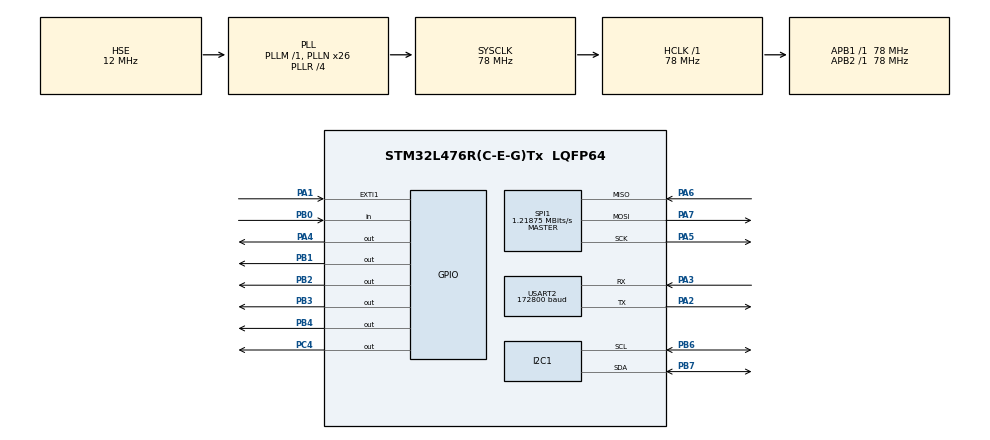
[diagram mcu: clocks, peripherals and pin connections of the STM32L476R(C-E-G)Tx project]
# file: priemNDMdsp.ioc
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I2C1.Timing=0x40707EB4
Mcu.Family=STM32L4
Mcu.Name=STM32L476R(C-E-G)Tx
Mcu.Package=LQFP64
NVIC.EXTI1_IRQn=true\:2\:0\:true\:false\:true\:true\:true
NVIC.PriorityGroup=NVIC_PRIORITYGROUP_4
NVIC.TIM6_DAC_IRQn=true\:0\:0\:false\:false\:true\:true\:true
NVIC.TIM7_IRQn=true\:3\:0\:true\:false\:true\:true\:true
NVIC.USART2_IRQn=true\:1\:0\:true\:false\:true\:true\:true
PA1.GPIO_ModeDefaultEXTI=GPIO_MODE_IT_RISING_FALLING
PA1.GPIO_PuPd=GPIO_PULLUP
PA1.Signal=GPXTI1
PA13\ (JTMS-SWDIO).Mode=Serial_Wire
PA13\ (JTMS-SWDIO).Signal=SYS_JTMS-SWDIO
PA14\ (JTCK-SWCLK).Mode=Serial_Wire
PA14\ (JTCK-SWCLK).Signal=SYS_JTCK-SWCLK
PA2.Mode=Asynchronous
PA2.Signal=USART2_TX
PA3.Mode=Asynchronous
PA3.Signal=USART2_RX
PA4.GPIO_PuPd=GPIO_PULLUP
PA4.GPIO_Speed=GPIO_SPEED_FREQ_MEDIUM
PA4.Signal=GPIO_Output
PA5.GPIO_PuPd=GPIO_NOPULL
PA5.Mode=Full_Duplex_Master
PA5.Signal=SPI1_SCK
PA6.Mode=Full_Duplex_Master
PA6.Signal=SPI1_MISO
PA7.GPIO_PuPd=GPIO_NOPULL
PA7.Mode=Full_Duplex_Master
PA7.Signal=SPI1_MOSI
PB0.GPIO_PuPd=GPIO_PULLDOWN
PB0.Signal=GPIO_Input
PB1.GPIO_PuPd=GPIO_PULLUP
PB1.GPIO_Speed=GPIO_SPEED_FREQ_MEDIUM
PB1.Signal=GPIO_Output
PB2.GPIO_PuPd=GPIO_PULLUP
PB2.GPIO_Speed=GPIO_SPEED_FREQ_MEDIUM
PB2.Signal=GPIO_Output
PB3\ (JTDO-TRACESWO).GPIO_PuPd=GPIO_PULLUP
PB3\ (JTDO-TRACESWO).GPIO_Speed=GPIO_SPEED_FREQ_MEDIUM
PB3\ (JTDO-TRACESWO).Signal=GPIO_Output
PB4\ (NJTRST).GPIO_PuPd=GPIO_PULLUP
PB4\ (NJTRST).GPIO_Speed=GPIO_SPEED_FREQ_MEDIUM
PB4\ (NJTRST).Signal=GPIO_Output
PB6.Mode=I2C
PB6.Signal=I2C1_SCL
PB7.Mode=I2C
PB7.Signal=I2C1_SDA
PC4.GPIO_PuPd=GPIO_PULLDOWN
PC4.GPIO_Speed=GPIO_SPEED_FREQ_VERY_HIGH
PC4.Signal=GPIO_Output
PH0-OSC_IN\ (PH0).Mode=HSE-External-Oscillator
PH0-OSC_IN\ (PH0).Signal=RCC_OSC_IN
PH1-OSC_OUT\ (PH1).Mode=HSE-External-Oscillator
PH1-OSC_OUT\ (PH1).Signal=RCC_OSC_OUT
ProjectManager.HeapSize=0x400
ProjectManager.StackSize=0x800
ProjectManager.TargetToolchain=EWARM V7
RCC.ADCFreq_Value=48000000
RCC.AHBFreq_Value=78000000
RCC.APB1Freq_Value=78000000
RCC.APB1TimFreq_Value=78000000
RCC.APB2Freq_Value=78000000
RCC.APB2TimFreq_Value=78000000
RCC.CortexFreq_Value=78000000
RCC.HCLKFreq_Value=78000000
RCC.HSE_VALUE=12000000
RCC.HSI_VALUE=16000000
RCC.LSE_VALUE=32768
RCC.MSI_VALUE=4000000
RCC.PLLN=26
RCC.PLLR=RCC_PLLR_DIV4
RCC.PLLSourceVirtual=RCC_PLLSOURCE_HSE
RCC.SYSCLKFreq_VALUE=78000000
RCC.SYSCLKSource=RCC_SYSCLKSOURCE_PLLCLK
RCC.USBFreq_Value=48000000
RCC.VCOOutputFreq_Value=312000000
SPI1.BaudRatePrescaler=SPI_BAUDRATEPRESCALER_64
SPI1.CalculateBaudRate=1.21875 MBits/s
SPI1.DataSize=SPI_DATASIZE_8BIT
SPI1.Direction=SPI_DIRECTION_2LINES
SPI1.Mode=SPI_MODE_MASTER
SPI1.NSSPMode=SPI_NSS_PULSE_DISABLE
SPI1.VirtualType=VM_MASTER
TIM6.Period=3075
TIM6.TIM_MasterOutputTrigger=TIM_TRGO_UPDATE
TIM7.Period=62499
TIM7.Prescaler=62400
TIM7.TIM_MasterOutputTrigger=TIM_TRGO_UPDATE
USART2.BaudRate=172800
USART2.DMADisableonRxErrorParam=UART_ADVFEATURE_DMA_DISABLEONRXERROR
USART2.OverrunDisableParam=UART_ADVFEATURE_OVERRUN_ENABLE
USART2.VirtualMode-Asynchronous=VM_ASYNC
USART2.WordLength=WORDLENGTH_8B
VP_TIM6_VS_ClockSourceINT.Mode=Enable_Timer
VP_TIM7_VS_ClockSourceINT.Mode=Enable_Timer
board=priemNDMdsp

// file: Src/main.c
/**
  ******************************************************************************
  * File Name          : main.c
  * Description        : Main program body
  ******************************************************************************
  ** This notice applies to any and all portions of this file
  * that are not between comment pairs USER CODE BEGIN and
  * USER CODE END. Other portions of this file, whether
  * inserted by the user or by software development tools
  * are owned by their respective copyright owners.
  *
  * COPYRIGHT(c) 2018 STMicroelectronics
  *
  * Redistribution and use in source and binary forms, with or without modification,
  * are permitted provided that the following conditions are met:
  *   1. Redistributions of source code must retain the above copyright notice,
  *      this list of conditions and the following disclaimer.
  *   2. Redistributions in binary form must reproduce the above copyright notice,
  *      this list of conditions and the following disclaimer in the documentation
  *      and/or other materials provided with the distribution.
  *   3. Neither the name of STMicroelectronics nor the names of its contributors
  *      may be used to endorse or promote products derived from this software
  *      without specific prior written permission.
  *
  * THIS SOFTWARE IS PROVIDED BY THE COPYRIGHT HOLDERS AND CONTRIBUTORS "AS IS"
  * AND ANY EXPRESS OR IMPLIED WARRANTIES, INCLUDING, BUT NOT LIMITED TO, THE
  * IMPLIED WARRANTIES OF MERCHANTABILITY AND FITNESS FOR A PARTICULAR PURPOSE ARE
  * DISCLAIMED. IN NO EVENT SHALL THE COPYRIGHT HOLDER OR CONTRIBUTORS BE LIABLE
  * FOR ANY DIRECT, INDIRECT, INCIDENTAL, SPECIAL, EXEMPLARY, OR CONSEQUENTIAL
  * DAMAGES (INCLUDING, BUT NOT LIMITED TO, PROCUREMENT OF SUBSTITUTE GOODS OR
  * SERVICES; LOSS OF USE, DATA, OR PROFITS; OR BUSINESS INTERRUPTION) HOWEVER
  * CAUSED AND ON ANY THEORY OF LIABILITY, WHETHER IN CONTRACT, STRICT LIABILITY,
  * OR TORT (INCLUDING NEGLIGENCE OR OTHERWISE) ARISING IN ANY WAY OUT OF THE USE
  * OF THIS SOFTWARE, EVEN IF ADVISED OF THE POSSIBILITY OF SUCH DAMAGE.
  *
  ******************************************************************************
  */
#include "main.h"
#include "stm32l4xx_hal.h"
#include "i2c.h"
#include "spi.h"
#include "tim.h"
#include "usart.h"
#include "gpio.h"
#include "stm32l4xx_it.h"

/* USER CODE BEGIN PV */
/* Private variables ---------------------------------------------------------*/
const  uint8_t txReqestMode = 0xE1;
uint16_t timOUT = 500;

__IO uint8_t halt = SEVEN_CHANEL_MODE; //0 - 7 chanel, 1 - 4 chanel

extern uint16_t nBytesInCadr  ;
extern taskTARIR taskTarir;
extern uint8_t isByteRecived;
extern uint8_t nBytesDataPack;
extern uint16_t rxUsartBuf;

/* USER CODE END PV */

void SystemClock_Config(void);

/* USER CODE BEGIN PFP */
/* Private function prototypes -----------------------------------------------*/

/* USER CODE END PFP */

int main(void)
{

  /* MCU Configuration----------------------------------------------------------*/

  /* Reset of all peripherals, Initializes the Flash interface and the Systick. */
  HAL_Init();

  /* Configure the system clock */
  SystemClock_Config();

  /* Initialize all configured peripherals */
  MX_GPIO_Init();
  MX_SPI1_Init();

  MX_USART2_UART_Init();
  MX_I2C1_Init();

  /* USER CODE BEGIN 2 */

/****************************************************/
   initRTC();
   HAL_Delay(1);
   FlashInit();
   HAL_Delay(1);

/***************************************************/

  USART2->CR1 |= USART_CR1_RXNEIE;
  isByteRecived = 0;
  timOUT = 500;
  HAL_UART_Transmit(&huart2,(uint8_t*)&txReqestMode,1,0x0f);
  while((!isByteRecived) && (timOUT)){timOUT--;HAL_Delay(1);}

  if(isByteRecived){

    if(rxUsartBuf == (uint16_t)0xe2){
      halt = SEVEN_CHANEL_MODE;
    }else if(rxUsartBuf ==  (uint16_t)0xe3){
      halt = HALF_CHANEL_MODE;
    }

  }

   if(!halt)
   {
     nBytesDataPack = NUMBYTE_INSEVEN_CHANELMODE; //7*2, where 7 is word   e2h
     nBytesInCadr = NUM_POINTS_INCADR;
   }else
   {
     nBytesDataPack = NUMBYTE_INSEVEN_CHANELMODE/2+1; //4*2, where 4 is word e3h
     nBytesInCadr = NUM_POINTS_INHALF;
   }

    SPI1->CR1 |=  SPI_CR1_SPE;

    MX_TIM7_Init();
    MX_TIM6_Init();
    MX_IWDG_Init();

  /* USER CODE END 2 */

  /* Infinite loop */
  /* USER CODE BEGIN WHILE */
  while (1)
  {

    HAL_IWDG_Refresh(&hiwdg);
    allNDMDataRecive();

    if( enWrDataToFlash )
      {

        HAL_TIM_Base_Stop_IT(&htim6);

        enWrDataToFlash=0;
        WrToflash();

        HAL_TIM_Base_Start_IT(&htim6);

      }

  if(taskTarir){

    HAL_TIM_Base_Stop_IT(&htim6);
    HAL_TIM_Base_Stop_IT(&htim7);

    switch( taskTarir){

      case rdFLASH:
        rxCmndRdFlash();
        taskTarir = noTASK;
      break;

      case clrFLASH:
        clearFlashFull();
        taskTarir = noTASK;
      break;

      case setTIME:
       rxCmndSetTime();
       taskTarir = noTASK;
      break;

     case rdTIME:
       rxCmndRdTime();
       taskTarir = noTASK;
     break;

      default:

        break;

      }

    HAL_TIM_Base_Start_IT(&htim7);
    HAL_TIM_Base_Start_IT(&htim6);

  }

  /* USER CODE END WHILE */

  }

}

/** System Clock Configuration
*/

//78mhz
void SystemClock_Config(void)
{

  RCC_OscInitTypeDef RCC_OscInitStruct;
  RCC_ClkInitTypeDef RCC_ClkInitStruct;
  RCC_PeriphCLKInitTypeDef PeriphClkInit;

    /**Initializes the CPU, AHB and APB busses clocks
    */
  RCC_OscInitStruct.OscillatorType = RCC_OSCILLATORTYPE_HSE;
  RCC_OscInitStruct.HSEState = RCC_HSE_ON;
  RCC_OscInitStruct.PLL.PLLState = RCC_PLL_ON;
  RCC_OscInitStruct.PLL.PLLSource = RCC_PLLSOURCE_HSE;
  RCC_OscInitStruct.PLL.PLLM = 1;
  RCC_OscInitStruct.PLL.PLLN = 26;
  RCC_OscInitStruct.PLL.PLLP = RCC_PLLP_DIV7;
  RCC_OscInitStruct.PLL.PLLQ = RCC_PLLQ_DIV2;
  RCC_OscInitStruct.PLL.PLLR = RCC_PLLR_DIV4;
  if (HAL_RCC_OscConfig(&RCC_OscInitStruct) != HAL_OK)
  {
    _Error_Handler(__FILE__, __LINE__);
  }

    /**Initializes the CPU, AHB and APB busses clocks
    */
  RCC_ClkInitStruct.ClockType = RCC_CLOCKTYPE_HCLK|RCC_CLOCKTYPE_SYSCLK
                              |RCC_CLOCKTYPE_PCLK1|RCC_CLOCKTYPE_PCLK2;
  RCC_ClkInitStruct.SYSCLKSource = RCC_SYSCLKSOURCE_PLLCLK;
  RCC_ClkInitStruct.AHBCLKDivider = RCC_SYSCLK_DIV1;
  RCC_ClkInitStruct.APB1CLKDivider = RCC_HCLK_DIV1;
  RCC_ClkInitStruct.APB2CLKDivider = RCC_HCLK_DIV1;

  if (HAL_RCC_ClockConfig(&RCC_ClkInitStruct, FLASH_LATENCY_3) != HAL_OK)
  {
    _Error_Handler(__FILE__, __LINE__);
  }

  PeriphClkInit.PeriphClockSelection = RCC_PERIPHCLK_USART2|RCC_PERIPHCLK_I2C1;
  PeriphClkInit.Usart2ClockSelection = RCC_USART2CLKSOURCE_PCLK1;
  PeriphClkInit.I2c1ClockSelection = RCC_I2C1CLKSOURCE_PCLK1;
  if (HAL_RCCEx_PeriphCLKConfig(&PeriphClkInit) != HAL_OK)
  {
    _Error_Handler(__FILE__, __LINE__);
  }

    /**Configure the main internal regulator output voltage
    */
  if (HAL_PWREx_ControlVoltageScaling(PWR_REGULATOR_VOLTAGE_SCALE1) != HAL_OK)
  {
    _Error_Handler(__FILE__, __LINE__);
  }

    /**Configure the Systick interrupt time
    */
  HAL_SYSTICK_Config(HAL_RCC_GetHCLKFreq()/1000);

    /**Configure the Systick
    */
  HAL_SYSTICK_CLKSourceConfig(SYSTICK_CLKSOURCE_HCLK);

  /* SysTick_IRQn interrupt configuration */
  HAL_NVIC_SetPriority(SysTick_IRQn, 0, 0);
}

void _Error_Handler(char * file, int line)
{
  while(1)
  {
  }
}

/************************ (C) COPYRIGHT STMicroelectronics *****END OF FILE****/
